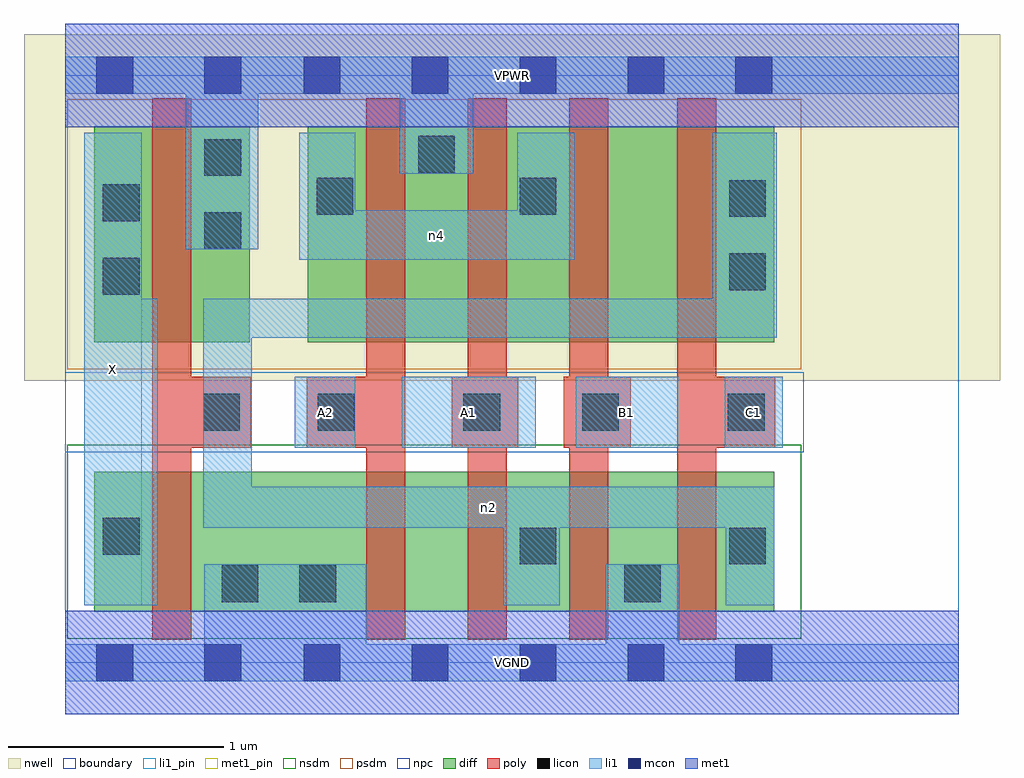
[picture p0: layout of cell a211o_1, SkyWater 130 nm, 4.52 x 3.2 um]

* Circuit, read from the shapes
.subckt a211o_1 A1 A2 B1 C1 VGND VPWR X n2 n4
XM1 VGND n2 X VSUBS sky130_fd_pr__nfet_01v8 w=0.65 l=0.18
XM2 n1 A2 VGND VSUBS sky130_fd_pr__nfet_01v8 w=0.65 l=0.18
XM3 n2 A1 n1 VSUBS sky130_fd_pr__nfet_01v8 w=0.65 l=0.18
XM4 VGND B1 n2 VSUBS sky130_fd_pr__nfet_01v8 w=0.65 l=0.18
XM5 n2 C1 VGND VSUBS sky130_fd_pr__nfet_01v8 w=0.65 l=0.18
XM6 VPWR n2 X n3 sky130_fd_pr__pfet_01v8 w=1 l=0.18
XM7 VPWR A2 n4 n3 sky130_fd_pr__pfet_01v8 w=1 l=0.18
XM8 n4 A1 VPWR n3 sky130_fd_pr__pfet_01v8 w=1 l=0.18
XM9 n5 B1 n4 n3 sky130_fd_pr__pfet_01v8 w=1 l=0.18
XM10 n2 C1 n5 n3 sky130_fd_pr__pfet_01v8 w=1 l=0.18
.ends

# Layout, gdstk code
import gdstk
lib = gdstk.Library(unit=1e-6, precision=1e-09)
def R(c, l, rs):  # rectangles x0, y0, x1, y1
    for r in rs: c.add(gdstk.rectangle(r[:2], r[2:], *l))
def A(c, l, x, y, w, h, nx, ny, dx, dy):  # array of equal rectangles
    R(c, l, [(x+i*dx, y+j*dy, x+i*dx+w, y+j*dy+h) for i in range(nx) for j in range(ny)])
nwell = (64, 20)
diff = (65, 20)
poly = (66, 20)
licon = (66, 44)
li1_pin = (67, 16)
li1 = (67, 20)
mcon = (67, 44)
met1_pin = (68, 16)
met1 = (68, 20)
nsdm = (93, 44)
psdm = (94, 20)
npc = (95, 20)
boundary = (235, 4)

a211o_1 = lib.new_cell('a211o_1')
R(a211o_1, nwell, [(-0.19,1.305,4.33,2.91), (0,1.305,4.14,2.91)])
R(a211o_1, diff, [(0.135,0.235,3.285,0.885), (0.135,1.485,0.855,2.485), (1.125,1.485,3.285,2.485)])
A(a211o_1, poly, 1.395, 0.105, 0.18, 2.51, 3, 1, 0.47, 0)
R(a211o_1, poly, [(0.405,0.105,0.585,2.615), (2.835,0.105,3.015,2.615), (0.405,0.995,0.86,1.325), (1.12,0.995,1.575,1.325), (1.79,0.995,2.1,1.325), (2.31,0.995,2.62,1.325), (2.835,0.995,3.29,1.325)])
R(a211o_1, licon, [(0.725,0.28,0.895,0.45), (1.085,0.28,1.255,0.45), (2.59,0.28,2.76,0.45), (2.105,0.455,2.275,0.625), (3.075,0.455,3.245,0.625), (0.175,0.5,0.345,0.67), (0.64,1.075,0.81,1.245), (1.17,1.075,1.34,1.245), (1.845,1.075,2.015,1.245), (2.395,1.075,2.565,1.245), (3.07,1.075,3.24,1.245), (0.175,1.705,0.345,1.875), (3.075,1.725,3.245,1.895), (0.645,1.915,0.815,2.085), (0.175,2.045,0.345,2.215), (3.075,2.065,3.245,2.235), (1.165,2.075,1.335,2.245), (2.105,2.075,2.275,2.245), (0.645,2.255,0.815,2.425), (1.635,2.27,1.805,2.44)])
R(a211o_1, li1_pin, [(0.09,0.265,0.355,2.455), (1.065,0.995,1.345,1.325), (1.56,0.995,2.18,1.325), (2.365,0.995,2.84,1.325), (3.055,0.995,3.325,1.325)])
R(a211o_1, li1, [(0,-0.085,4.14,0.085), (0.645,-0.085,1.395,0.455), (2.505,-0.085,2.845,0.455), (0.09,0.265,0.355,2.455), (0.09,0.265,0.43,1.685), (2.03,0.265,2.29,0.815), (3.06,0.265,3.285,0.815), (0.64,0.625,3.285,0.815), (0.64,0.625,0.865,1.685), (1.065,0.995,1.345,1.325), (1.56,0.995,2.18,1.325), (2.365,0.995,2.84,1.325), (3.055,0.995,3.325,1.325), (0.64,1.505,3.295,1.685), (3,1.505,3.295,2.455), (1.085,1.865,2.36,2.095), (1.085,1.865,1.345,2.455), (2.095,1.865,2.36,2.455), (0.56,1.915,0.895,2.805), (1.55,2.265,1.89,2.805), (0,2.635,4.14,2.805)])
A(a211o_1, mcon, 1.105, -0.085, 0.17, 0.17, 5, 2, 0.5, 2.72)
R(a211o_1, mcon, [(0.145,-0.085,0.315,0.085), (0.645,-0.085,0.815,0.085), (0.145,2.635,0.315,2.805), (0.645,2.635,0.815,2.805)])
R(a211o_1, met1_pin, [(0,-0.24,4.14,0.24), (0,2.48,4.14,2.96)])
R(a211o_1, met1, [(0,-0.24,4.14,0.24), (0,2.48,4.14,2.96)])
R(a211o_1, nsdm, [(0.01,0.11,3.41,1.01)])
R(a211o_1, psdm, [(0.01,1.36,3.41,2.61)])
R(a211o_1, npc, [(0,0.975,3.42,1.345)])
R(a211o_1, boundary, [(0,0,4.14,2.72)])
a211o_1.add(gdstk.Label('A1', (1.87,1.16), layer=67, texttype=5))
a211o_1.add(gdstk.Label('A2', (1.205,1.16), layer=67, texttype=5))
a211o_1.add(gdstk.Label('B1', (2.602,1.16), layer=67, texttype=5))
a211o_1.add(gdstk.Label('C1', (3.19,1.16), layer=67, texttype=5))
a211o_1.add(gdstk.Label('X', (0.222,1.36), layer=67, texttype=5))
a211o_1.add(gdstk.Label('n4', (1.722,1.98), layer=67, texttype=5))
a211o_1.add(gdstk.Label('n2', (1.962,0.72), layer=67, texttype=5))
a211o_1.add(gdstk.Label('VPWR', (2.07,2.72), layer=68, texttype=5))
a211o_1.add(gdstk.Label('VGND', (2.07,0), layer=68, texttype=5))
a211o_1.add(gdstk.Label('A1', (1.87,1.16), layer=67, texttype=16))
a211o_1.add(gdstk.Label('A2', (1.205,1.16), layer=67, texttype=16))
a211o_1.add(gdstk.Label('B1', (2.602,1.16), layer=67, texttype=16))
a211o_1.add(gdstk.Label('C1', (3.19,1.16), layer=67, texttype=16))
a211o_1.add(gdstk.Label('X', (0.222,1.36), layer=67, texttype=16))
a211o_1.add(gdstk.Label('VPWR', (2.07,2.72), layer=68, texttype=16))
a211o_1.add(gdstk.Label('VGND', (2.07,0), layer=68, texttype=16))

lib.write_gds('a211o_1.gds')
